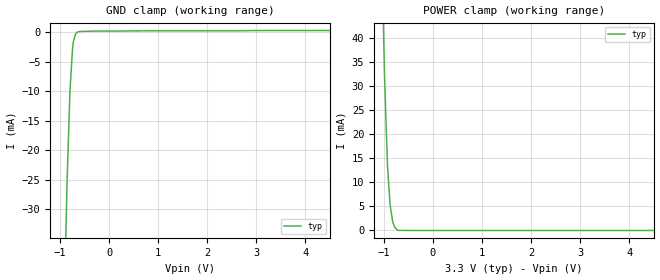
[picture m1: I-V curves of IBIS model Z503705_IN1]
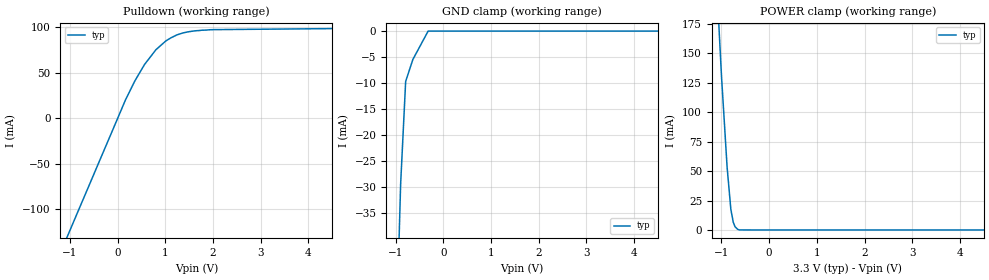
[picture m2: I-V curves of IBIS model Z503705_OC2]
| YOU ARE ONLY AUTHORIZED TO USE THIS SOFTWARE
| ACCORDING TO LICENSOR'S LICENSE RESTRICTIONS.
[IBIS Ver] 3.1
[File Name] mc74ac05n_33.ibs
[File Rev] 2.0
[Source] Measured and created by ICX Technology
[Date] Friday 7/14/00 9:07:58 AM
[Copyright]
| (C) COPYRIGHT 1993-2000
| MENTOR GRAPHICS CORPORATION
| ICX STANDARD LIBRARY, ICX PROJECT MODELING,
| ICX CUSTOM MODELING, ICX VENDOR MODEL
| ALL RIGHTS RESERVED.
| THE FOLLOWING ARE TRADEMARKS OR SERVICE MARKS OF
| MENTOR GRAPHICS CORPORATION:ICX (R), ICX STANDARD
| LIBRARY(R), ICX PROJECT MODELING(R), ICX CUSTOM
| MODELING(R), qualityIBIS(TM), MODELVIEWER(TM),
| AND MODELEDITOR(TM)
| ALL COPIES OF SOFTWARE, INCLUDING BUT NOT LIMITED TO
| ANY MODIFICATIONS, ENHANCEMENTS OR DERIVATIVE WORKS,
| MUST CONTAIN ALL MENTOR GRAPHICS CORPORATION'S
| NOTICES AND LEGENDS, INCLUDING THOSE EMBEDDED IN
| SOFTWARE AND THOSE AFFIXED TO SOFTWARE MEDIUM
| AND CONTAINER, AS RECEIVED FROM MENTOR GRAPHICS
| CORPORATION.
|  ZAP Model Builder 2.7
[Component] MC74AC05N_33
[Manufacturer] OnSemiconductor
[Package]
| variable   typ   min   max
R_pkg  .21ohms NA NA
L_pkg  4.543nH NA NA
C_pkg  1.059pF NA NA
[Pin] signal_name  model_name  R_pin  L_pin C_pin
1 A1 Z503705_IN1 .22 6.757n 1.432p
2 Y1 Z503705_OC2 .212 4.757n 1.142p
3 A2 Z503705_IN1 .204 3.257n .852p
4 Y2 Z503705_OC2 .196 2.257n .562p
5 A3 Z503705_IN1 .204 3.257n .852p
6 Y3 Z503705_OC2 .212 4.757n 1.142p
7 GND GND .22 6.757n 1.432p
8 Y4 Z503705_OC2 .22 6.757n 1.432p
9 A4 Z503705_IN1 .212 4.757n 1.142p
10 Y5 Z503705_OC2 .204 3.257n .852p
11 A5 Z503705_IN1 .196 2.257n .562p
12 Y6 Z503705_OC2 .204 3.257n .852p
13 A6 Z503705_IN1 .212 4.757n 1.142p
14 VCC POWER .22 6.757n 1.432p
| Models and submodels in the file (2): Z503705_IN1 (Input), Z503705_OC2 (Open_sink)
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| (C) COPYRIGHT 1993-2000
| MENTOR GRAPHICS CORPORATION
| ICX STANDARD LIBRARY, ICX PROJECT MODELING,
| ICX CUSTOM MODELING, ICX VENDOR MODEL
| ALL RIGHTS RESERVED.
| THE FOLLOWING ARE TRADEMARKS OR SERVICE MARKS OF
| MENTOR GRAPHICS CORPORATION:ICX (R), ICX STANDARD
| LIBRARY(R), ICX PROJECT MODELING(R), ICX CUSTOM
| MODELING(R), qualityIBIS(TM), MODELVIEWER(TM),
| AND MODELEDITOR(TM)
| ALL COPIES OF SOFTWARE, INCLUDING BUT NOT LIMITED TO
| ANY MODIFICATIONS, ENHANCEMENTS OR DERIVATIVE WORKS,
| MUST CONTAIN ALL MENTOR GRAPHICS CORPORATION'S
| NOTICES AND LEGENDS, INCLUDING THOSE EMBEDDED IN
| SOFTWARE AND THOSE AFFIXED TO SOFTWARE MEDIUM
| AND CONTAINER, AS RECEIVED FROM MENTOR GRAPHICS
| CORPORATION.
| Model Application Version 1.89 2/18/99.
[Model] Z503705_IN1
Model_type Input
Vinl = 990.0mV
Vinh = 2.310V
C_comp 4.000pF NA NA
| variable typ   min   max
[Voltage Range] 3.300V NA NA
[GND Clamp Reference] 0.000V NA NA
[POWER Clamp Reference] 3.300V NA NA
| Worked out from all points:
|   GND clamp passes 1 mA (typ) near -0.71 V on its own axis
|   POWER clamp passes 1 mA (typ) near -0.79 V on its own axis
[GND Clamp]
-3.3V     -1.59A     NA         NA
-1.001V   -79.37mA   NA         NA
-859.4mV  -25.86mA   NA         NA
-799.7mV  -10.06mA   NA         NA
-747.4mV  -2.944mA   NA         NA
-731mV    -1.657mA   NA         NA
-687.6mV  -362.1uA   NA         NA
-628.3mV  89.71uA    NA         NA
825.4mV   232.8uA    NA         NA
6.6V      275.1uA    NA         NA
[POWER Clamp]
-3.3V     1.865A     NA         NA
-1.143V   125.1mA    NA         NA
-1.024V   50.15mA    NA         NA
-986mV    32mA       NA         NA
-924mV    13.15mA    NA         NA
-873mV    5.32mA     NA         NA
-818mV    1.698mA    NA         NA
-776mV    627.1uA    NA         NA
-718mV    21.9uA     NA         NA
-359mV    0A         NA         NA
6.6V      0A         NA         NA
| (C) COPYRIGHT 1993-2000
| MENTOR GRAPHICS CORPORATION
| ICX STANDARD LIBRARY, ICX PROJECT MODELING,
| ICX CUSTOM MODELING, ICX VENDOR MODEL
| ALL RIGHTS RESERVED.
| THE FOLLOWING ARE TRADEMARKS OR SERVICE MARKS OF
| MENTOR GRAPHICS CORPORATION:ICX (R), ICX STANDARD
| LIBRARY(R), ICX PROJECT MODELING(R), ICX CUSTOM
| MODELING(R), qualityIBIS(TM), MODELVIEWER(TM),
| AND MODELEDITOR(TM)
| ALL COPIES OF SOFTWARE, INCLUDING BUT NOT LIMITED TO
| ANY MODIFICATIONS, ENHANCEMENTS OR DERIVATIVE WORKS,
| MUST CONTAIN ALL MENTOR GRAPHICS CORPORATION'S
| NOTICES AND LEGENDS, INCLUDING THOSE EMBEDDED IN
| SOFTWARE AND THOSE AFFIXED TO SOFTWARE MEDIUM
| AND CONTAINER, AS RECEIVED FROM MENTOR GRAPHICS
| CORPORATION.
| Model Application Version 1.89 2/18/99.
[Model] Z503705_OC2
Model_type Open_sink
Vref=3.500V
Rref=250.0ohms
Cref=50.00pF
Vmeas=1.650V
C_comp 8.000pF NA NA
| variable typ   min   max
[Voltage Range] 3.300V NA NA
[POWER Clamp Reference] 3.300V NA NA
[Pullup Reference] 3.300V NA NA
[Pulldown Reference] 0.000V NA NA
[GND Clamp Reference] 0.000V NA NA
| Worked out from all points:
|   slope of the pulldown table from 0 to 0.495 V, typ, clamps not added: 9.31 ohm
|   POWER clamp passes 1 mA (typ) near -0.67 V on its own axis
[GND Clamp]
-3.3V     -810.1mA   NA         NA
-896.5mV  -29.48mA   NA         NA
-791mV    -9.691mA   NA         NA
-639.5mV  -5.457mA   NA         NA
-319.8mV  0A         NA         NA
6.6V      0A         NA         NA
[Pulldown]
-3.3V     -407.1mA   NA         NA
166.1mV   20.44mA    NA         NA
362mV     41.26mA    NA         NA
563.2mV   59.19mA    NA         NA
802.7mV   75.48mA    NA         NA
1.012V    85.17mA    NA         NA
1.244V    91.8mA     NA         NA
1.619V    96.22mA    NA         NA
1.997V    97.53mA    NA         NA
6.6V      99.63mA    NA         NA
[POWER Clamp]
-3.3V     1.926A     NA         NA
-997mV    129.9mA    NA         NA
-880mV    53.06mA    NA         NA
-802mV    17.56mA    NA         NA
-751mV    6.442mA    NA         NA
-714mV    2.761mA    NA         NA
-659mV    538.3uA    NA         NA
-620mV    50.5uA     NA         NA
-310mV    0A         NA         NA
6.6V      0A         NA         NA
[Ramp]
| variable typ min max
dV/dt_r 1.879/2.925n NA NA
dV/dt_f 1.879/345.8p NA NA
R_load = 250.0Ohms
